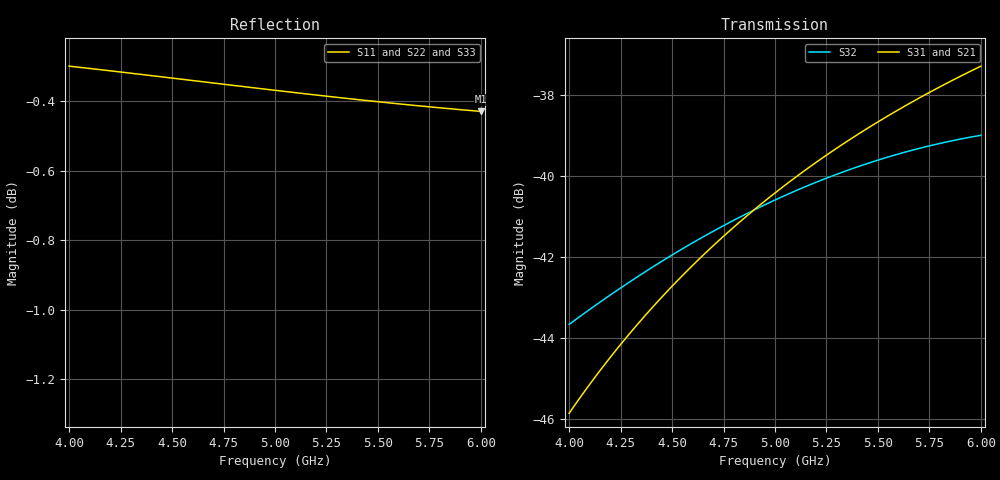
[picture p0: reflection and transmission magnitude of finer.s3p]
! yapnr rf: divider-osh-w-sched, footprint re-simulated (refine 3)
! spec sha256 a695714fe4669d91357af09eb6c71142ba3a268c85e6750933766b3682f3e517
! 3 ports renormalized to 50 ohm, e^(+jwt) convention
# GHz S RI R 50
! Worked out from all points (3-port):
!   81 points, 4 GHz to 6 GHz, reference 50 ohm
!   strongest paths, dB at 4 GHz, 4.5 GHz, 5 GHz, 5.5 GHz, 6 GHz:
!     S31: -45.9, -42.7, -40.4, -38.7, -37.3
!     S21: -45.9, -42.7, -40.4, -38.7, -37.3
!     S32: -43.7, -42.0, -40.6, -39.6, -39.0
!   lowest |S11| = -0.4 dB at 6 GHz (marker M1), VSWR 40.51, Z = 1.31 - j12.2 ohm
!   |S11| at or under -10 dB: nowhere
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4  -0.2183 -0.9412  -0.00373 0.00256  -0.00373 0.00256
   -0.00432 0.00269  -0.4602 -0.8494  -0.00431 -0.00494
   -0.00432 0.00269  -0.00431 -0.00494  -0.4602 -0.8494
4.1  -0.2587 -0.9302  -0.00393 0.00299  -0.00393 0.00299
     -0.00456 0.00313  -0.4975 -0.8274  -0.005 -0.00467
     -0.00456 0.00313  -0.005 -0.00467  -0.4975 -0.8274
4.225  -0.3082 -0.9139  -0.00415 0.00357  -0.00415 0.00357
       -0.00481 0.00372  -0.5424 -0.7978  -0.00584 -0.00422
       -0.00481 0.00372  -0.00584 -0.00422  -0.5424 -0.7978
4.45  -0.3947 -0.8782  -0.00437 0.00473  -0.00437 0.00473
      -0.00511 0.00491  -0.6179 -0.739  -0.00721 -0.00309
      -0.00511 0.00491  -0.00721 -0.00309  -0.6179 -0.739
4.725  -0.4946 -0.8235  -0.00432 0.00626  -0.00432 0.00626
       -0.00517 0.00651  -0.7007 -0.6585  -0.00853 -0.00124
       -0.00517 0.00651  -0.00853 -0.00124  -0.7007 -0.6585
5  -0.5871 -0.7576  -0.00386 0.00785  -0.00386 0.00785
   -0.00482 0.00822  -0.7724 -0.5699  -0.00929 0.001
   -0.00482 0.00822  -0.00929 0.001  -0.7724 -0.5699
5.25  -0.6638 -0.6889  -0.00309 0.00926  -0.00309 0.00926
      -0.00411 0.00979  -0.8275 -0.4833  -0.00941 0.0032
      -0.00411 0.00979  -0.00941 0.0032  -0.8275 -0.4833
5.5  -0.7326 -0.6124  -0.00198 0.0105  -0.00198 0.0105
     -0.00302 0.0113  -0.8729 -0.3921  -0.00898 0.00538
     -0.00302 0.0113  -0.00898 0.00538  -0.8729 -0.3921
5.75  -0.7929 -0.5291  -0.000558 0.0116  -0.000558 0.0116
      -0.00156 0.0126  -0.9082 -0.2971  -0.00802 0.00738
      -0.00156 0.0126  -0.00802 0.00738  -0.9082 -0.2971
6  -0.8441 -0.4399  0.00115 0.0125  0.00115 0.0125
   0.000265 0.0137  -0.9333 -0.1992  -0.00664 0.00906
   0.000265 0.0137  -0.00664 0.00906  -0.9333 -0.1992
